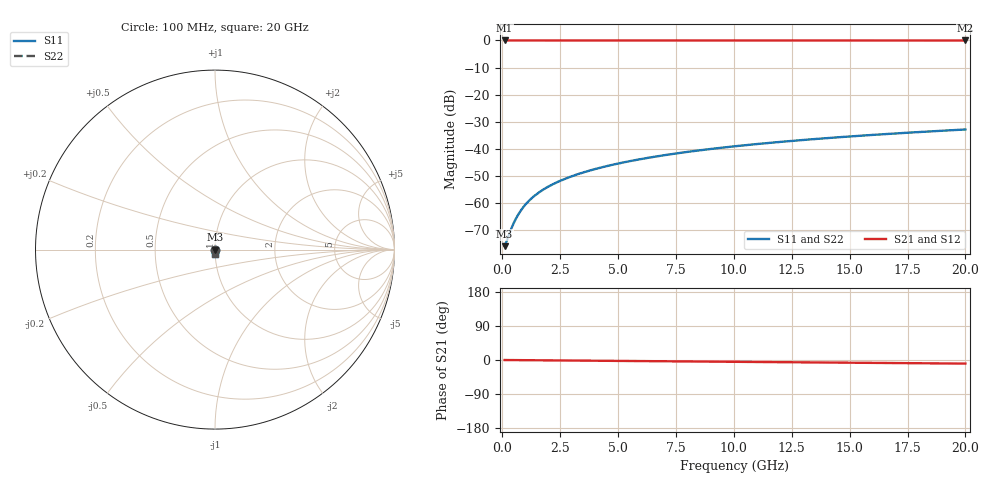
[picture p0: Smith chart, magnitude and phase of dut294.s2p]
! Touchstone file exported from HFSS 2026.1.0
!  File:  C:/ffzhzh/LocalFiles/Ansys_Project_Files/temp_train_TSV_294_1782993821_40604.aedt
!  Generated:  08:05:25 PM Jul  2, 2026
!  Design:  TSV
!  Project:  temp_train_TSV_294_1782993821_40604
! Variables:
!  h_bsmrdl = 2um
!  h_ox = 20um
!  h_rdl = 5um
!  h_sub = 99.35um
!  h_tmrdl = 5um
!  h_tsv = 99.35um
!  h_via = 3um
!  l_bsmrdl = 300um
!  l_sub = 420.76um
!  l_tmrdl = 200um
!  m_sub = 200um
!  pitch = 36.79um
!  r_tsv = 10.38um
!  s_tmrdl = 10um
!  w_bsmrdl = 18um
!  w_sub = 500um
!  w_tmrdl = 12um
!  x_tsv_center1 = 206um
!  x_tsv_center2 = 524um
!  x_tsv_center3 = 736um
!  x_tsv_center4 = 1054um
!  x_tsv_center5 = 1266um
!  x_tsv_center6 = 1584um
# GHz S MA R 50.000000
! Terminal data exported
! Port[1] = TSV1_1_T1
! Port[2] = TSV1_1_T2
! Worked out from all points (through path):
!   200 points, 100 MHz to 20 GHz, reference 50 ohm
!   highest |S21| = 0.00 dB at 100 MHz (marker M1); lowest = 0.0 dB at 20 GHz (marker M2)
!   group delay of S21, straight-line fit = 1.32 ps
!   lowest |S11| = -76.0 dB at 100 MHz (marker M3), VSWR 1.00, Z = 50 - j0.00585 ohm
!   |S11| at or under -10 dB: start of sweep to end of sweep
!   |S22| runs from -76.0 to -32.9 dB; largest |S21 - S12| = 5.4e-15
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0.1  0.0001581 -21.7  0.9999 -0.1  0.9999 -0.1  0.0001581 -21.7
! Gamma 0 0 0 0
! Port Impedance 50 0 50 0
0.4  0.000342 -51.2  0.9998 -0.2  0.9998 -0.2  0.000342 -51.2
0.5  0.0004279 -55.2  0.9998 -0.2  0.9998 -0.2  0.0004279 -55.2
0.6  0.0005207 -58.3  0.9997 -0.3  0.9997 -0.3  0.0005207 -58.3
0.7  0.0006185 -60.9  0.9997 -0.3  0.9997 -0.3  0.0006185 -60.9
0.9  0.0008235 -64.9  0.9996 -0.4  0.9996 -0.4  0.0008235 -64.9
1  0.0009287 -66.6  0.9996 -0.5  0.9996 -0.5  0.0009287 -66.6
1.2  0.001142 -69.3  0.9996 -0.6  0.9996 -0.6  0.001142 -69.3
1.4  0.001357 -71.5  0.9996 -0.7  0.9996 -0.7  0.001357 -71.5
1.6  0.001573 -73.3  0.9995 -0.8  0.9995 -0.8  0.001573 -73.3
2.1  0.002114 -76.6  0.9995 -1.0  0.9995 -1.0  0.002114 -76.6
2.7  0.002766 -79.1  0.9994 -1.3  0.9994 -1.3  0.002766 -79.1
3.5  0.003643 -81.3  0.9993 -1.7  0.9993 -1.7  0.003643 -81.3
4.2  0.004419 -82.7  0.9993 -2.0  0.9993 -2.0  0.004419 -82.7
5  0.005315 -83.9  0.9992 -2.4  0.9992 -2.4  0.005315 -83.9
5.9  0.006332 -85.0  0.9991 -2.8  0.9991 -2.8  0.006332 -85.0
6.8  0.007357 -86.0  0.999 -3.3  0.999 -3.3  0.007357 -86.0
8.3  0.009077 -87.5  0.9989 -4.0  0.9989 -4.0  0.009077 -87.5
10.1  0.01115 -89.0  0.9988 -4.8  0.9988 -4.8  0.01115 -89.0
13.4  0.01497 -91.4  0.9986 -6.4  0.9986 -6.4  0.01497 -91.4
16.7  0.0188 -93.5  0.9984 -7.9  0.9984 -7.9  0.0188 -93.5
20  0.02265 -95.5  0.9981 -9.5  0.9981 -9.5  0.02265 -95.5
